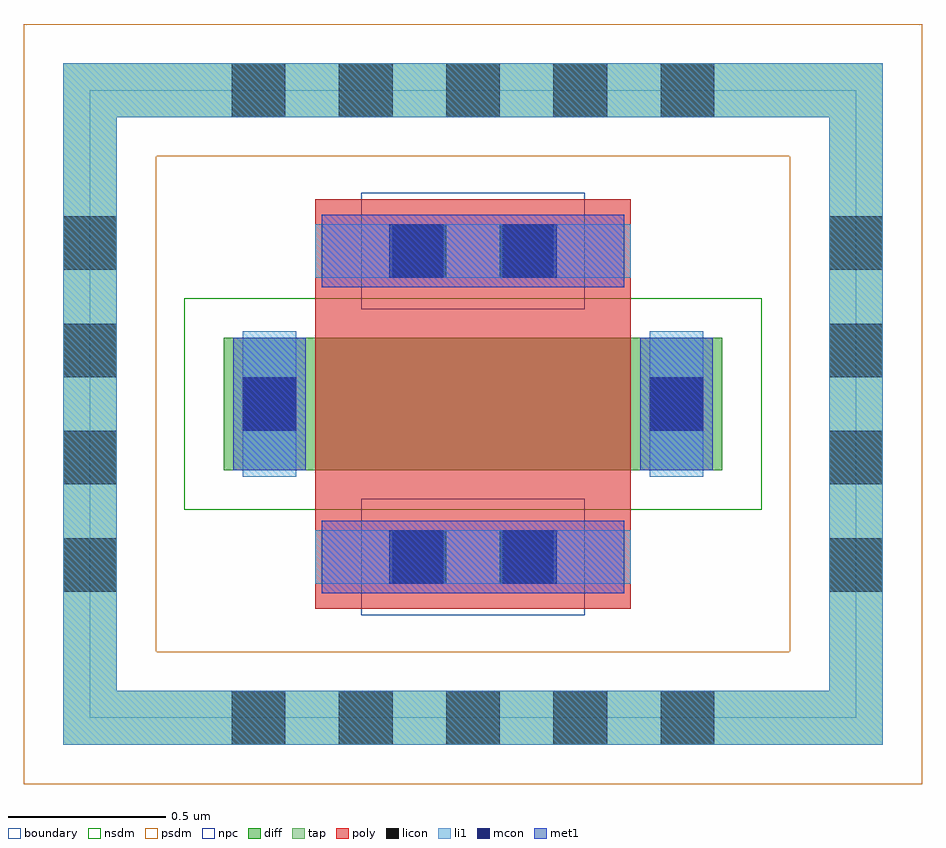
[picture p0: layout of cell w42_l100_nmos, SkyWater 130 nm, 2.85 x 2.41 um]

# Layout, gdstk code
import gdstk
lib = gdstk.Library(unit=1e-6, precision=1e-09)
def R(c, l, rs):  # rectangles x0, y0, x1, y1
    for r in rs: c.add(gdstk.rectangle(r[:2], r[2:], *l))
def A(c, l, x, y, w, h, nx, ny, dx, dy):  # array of equal rectangles
    R(c, l, [(x+i*dx, y+j*dy, x+i*dx+w, y+j*dy+h) for i in range(nx) for j in range(ny)])
diff = (65, 20)
tap = (65, 44)
poly = (66, 20)
licon = (66, 44)
li1 = (67, 20)
mcon = (67, 44)
met1 = (68, 20)
nsdm = (93, 44)
psdm = (94, 20)
npc = (95, 20)
boundary = (235, 4)

sky130_fd_pr__nfet_01v8 = lib.new_cell('sky130_fd_pr__nfet_01v8')

w42_l100_nmos = lib.new_cell('w42_l100_nmos')
R(w42_l100_nmos, diff, [(-0.79,-0.21,0.79,0.21)])
R(w42_l100_nmos, tap, [(-1.3,-1.08,1.3,-0.91), (-1.3,-0.91,-1.13,0.91), (1.13,-0.91,1.3,0.91), (-1.3,0.91,1.3,1.08)])
R(w42_l100_nmos, poly, [(-0.5,-0.65,0.5,0.65)])
A(w42_l100_nmos, licon, -0.765, -1.08, 0.17, 0.17, 5, 2, 0.34, 1.99)
A(w42_l100_nmos, licon, -1.3, -0.595, 0.17, 0.17, 1, 4, 0, 0.34)
A(w42_l100_nmos, licon, 1.13, -0.595, 0.17, 0.17, 1, 4, 0, 0.34)
R(w42_l100_nmos, licon, [(-0.255,-0.57,-0.085,-0.4), (0.085,-0.57,0.255,-0.4), (-0.73,-0.085,-0.56,0.085), (0.56,-0.085,0.73,0.085), (-0.255,0.4,-0.085,0.57), (0.085,0.4,0.255,0.57)])
R(w42_l100_nmos, li1, [(-1.3,-1.08,1.3,-0.91), (-1.3,-0.91,-1.13,0.91), (1.13,-0.91,1.3,0.91), (-0.5,-0.57,0.5,-0.4), (-0.73,-0.23,-0.56,0.23), (0.56,-0.23,0.73,0.23), (-0.5,0.4,0.5,0.57), (-1.3,0.91,1.3,1.08)])
R(w42_l100_nmos, mcon, [(-0.265,-0.57,-0.095,-0.4), (0.095,-0.57,0.265,-0.4), (-0.73,-0.085,-0.56,0.085), (0.56,-0.085,0.73,0.085), (-0.265,0.4,-0.095,0.57), (0.095,0.4,0.265,0.57)])
R(w42_l100_nmos, met1, [(-0.48,-0.6,0.48,-0.37), (-0.76,-0.21,-0.53,0.21), (0.53,-0.21,0.76,0.21), (-0.48,0.37,0.48,0.6)])
R(w42_l100_nmos, nsdm, [(-0.915,-0.335,0.915,0.335)])
R(w42_l100_nmos, psdm, [(-1.425,-1.205,1.425,-0.785), (-1.425,-0.785,-1.005,0.785), (1.005,-0.785,1.425,0.785), (-1.425,0.785,1.425,1.205)])
R(w42_l100_nmos, npc, [(-0.355,-0.67,0.355,-0.3), (-0.355,0.3,0.355,0.67)])
R(w42_l100_nmos, boundary, [(-1.215,-0.995,1.215,0.995)])
w42_l100_nmos.add(gdstk.Reference(sky130_fd_pr__nfet_01v8, (0,0)))

lib.write_gds('w42_l100_nmos.gds')
